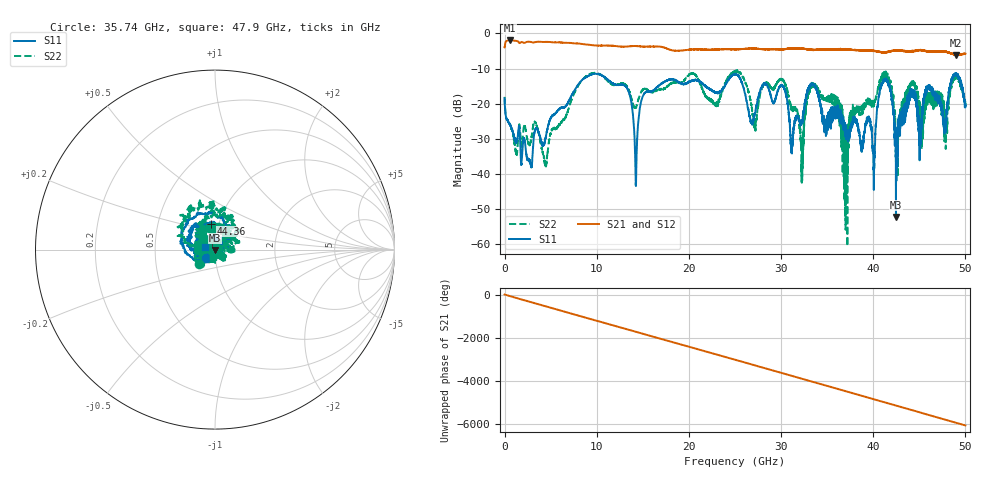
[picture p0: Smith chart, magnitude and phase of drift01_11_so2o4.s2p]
!Created with skrf (http://scikit-rf.org).
# Hz S RI R 50.0
!freq ReS11 ImS11 ReS21 ImS21 ReS12 ImS12 ReS22 ImS22
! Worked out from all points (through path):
!   10001 points, 300 kHz to 50 GHz, reference 50 ohm
!   highest |S21| = -2.00 dB at 570.3 MHz (marker M1); lowest = -6.1 dB at 48.98 GHz (marker M2)
!   group delay of S21, straight-line fit = 336 ps
!   lowest |S11| = -52.2 dB at 42.47 GHz (marker M3), VSWR 1.00, Z = 50.1 - j0.236 ohm
!   |S11| at or under -10 dB: start of sweep to end of sweep
!   |S22| runs from -60.6 to -10.5 dB; largest |S21 - S12| = 0.019
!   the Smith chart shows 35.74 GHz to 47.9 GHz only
!   S11 on the Smith chart (normalised r, x): 35.74 GHz: 0.90, -0.09; 44.36 GHz: 0.92, +0.27; 47.9 GHz: 0.90, +0.02
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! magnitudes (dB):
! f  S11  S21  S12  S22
! 300 kHz  -18.5  -4.0  -4.1  -18.1
! 570.3 MHz  -26.0  -2.0  -2.0  -26.1
! 4.435 GHz  -29.8  -2.4  -2.4  -37.0
! 8.335 GHz  -13.5  -3.0  -3.0  -13.5
! 13.17 GHz  -15.1  -3.7  -3.7  -14.7
! 14.25 GHz  -42.5  -3.6  -3.6  -21.0
! 16.67 GHz  -14.9  -3.7  -3.7  -15.9
! 25 GHz  -11.6  -4.6  -4.6  -10.9
! 27.14 GHz  -22.7  -4.3  -4.3  -25.8
! 30.21 GHz  -15.2  -4.5  -4.5  -13.3
! 31.15 GHz  -33.3  -4.3  -4.3  -21.2
! 32.23 GHz  -25.2  -4.4  -4.3  -40.4
! 33.34 GHz  -14.4  -4.7  -4.6  -14.7
! 35.74 GHz  -23.1  -4.5  -4.6  -18.6
! 37.05 GHz  -27.8  -4.6  -4.5  -44.8
! 40.06 GHz  -44.2  -5.0  -5.0  -20.5
! 41.67 GHz  -14.3  -5.2  -5.2  -12.7
! 42.47 GHz  -52.2  -4.9  -4.9  -33.2
! 44.36 GHz  -16.7  -5.1  -5.0  -13.7
! 47.9 GHz  -25.2  -5.2  -5.2  -27.5
! 48.98 GHz  -11.7  -6.1  -6.0  -12.8
! 50 GHz  -20.2  -5.8  -5.8  -20.0
